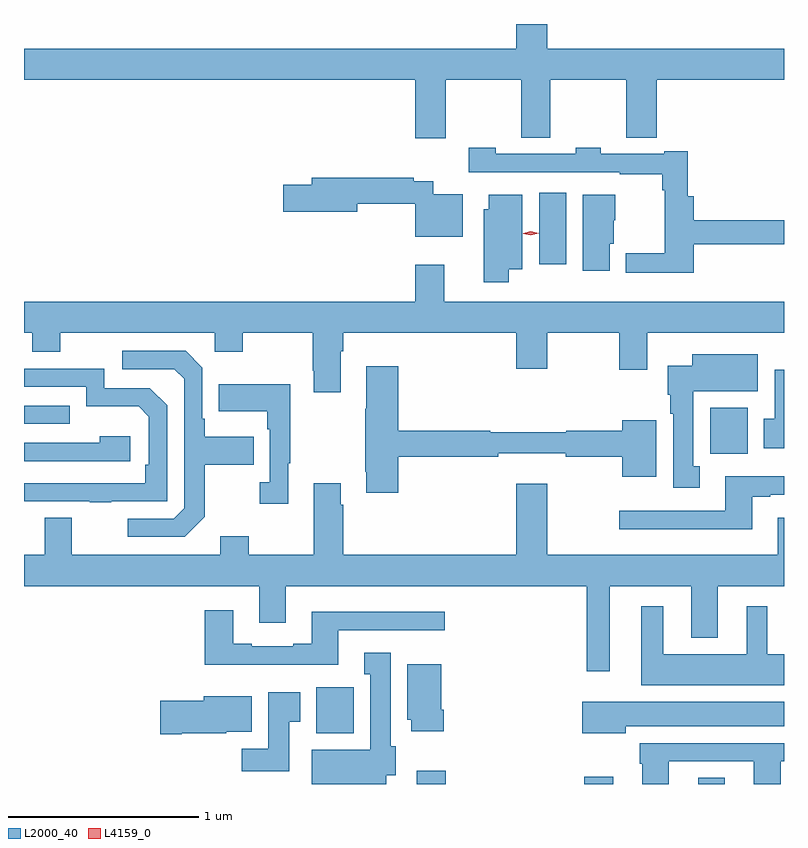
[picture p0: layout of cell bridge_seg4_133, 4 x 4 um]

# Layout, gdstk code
import gdstk
lib = gdstk.Library(unit=1e-6, precision=1e-09)
def R(c, l, rs):  # rectangles x0, y0, x1, y1
    for r in rs: c.add(gdstk.rectangle(r[:2], r[2:], *l))
def P(c, l, *ps):  # polygons
    for p in ps: c.add(gdstk.Polygon(p, *l))
L2000_40 = (2000, 40)
L4159_0 = (4159, 0)

bridge_seg4_133 = lib.new_cell('bridge_seg4_133')
R(bridge_seg4_133, L2000_40, [(140.507,806.434,140.66,806.503), (141.389,806.434,141.541,806.473), (141.989,806.434,142.129,806.468), (139.979,806.702,140.176,806.944), (142.052,808.172,142.249,808.414), (138.441,808.329,138.683,808.425), (141.152,809.169,141.295,809.545)])
P(bridge_seg4_133, L2000_40, [(140.661,810.14),(141.058,810.14),(141.058,809.836),(141.212,809.836),(141.212,810.14),(141.61,810.14),(141.61,809.836),(141.77,809.836),(141.77,810.14),(142.441,810.14),(142.441,810.304),(141.196,810.304),(141.196,810.434),(141.032,810.434),(141.032,810.304),(138.441,810.304),(138.441,810.14),(140.501,810.14),(140.501,809.832),(140.661,809.832)],
  [(141.965,809.274),(142.441,809.274),(142.441,809.402),(141.965,809.402),(141.965,809.527),(141.935,809.527),(141.935,809.764),(141.812,809.764),(141.812,809.751),(141.477,809.751),(141.477,809.784),(141.345,809.784),(141.345,809.751),(140.925,809.751),(140.925,809.784),(140.781,809.784),(140.781,809.655),(141.577,809.655),(141.577,809.643),(141.799,809.643),(141.799,809.558),(141.814,809.558),(141.814,809.228),(141.609,809.228),(141.609,809.126),(141.965,809.126)],
  [(140.749,809.539),(140.595,809.539),(140.595,809.607),(140.492,809.607),(140.492,809.624),(139.955,809.624),(139.955,809.588),(139.806,809.588),(139.806,809.446),(140.194,809.446),(140.194,809.488),(140.499,809.488),(140.499,809.315),(140.749,809.315)],
  [(141.523,809.277),(141.544,809.277),(141.544,809.4),(141.553,809.4),(141.553,809.536),(141.383,809.536),(141.383,809.136),(141.523,809.136)],
  [(140.991,809.144),(141.064,809.144),(141.064,809.536),(140.888,809.536),(140.888,809.46),(140.861,809.46),(140.861,809.076),(140.991,809.076)],
  [(141.032,808.62),(141.196,808.62),(141.196,808.808),(141.574,808.808),(141.574,808.614),(141.721,808.614),(141.721,808.808),(142.441,808.808),(142.441,808.972),(140.653,808.972),(140.653,809.167),(140.501,809.167),(140.501,808.972),(138.441,808.972),(138.441,808.808),(138.485,808.808),(138.485,808.709),(138.633,808.709),(138.633,808.808),(139.446,808.808),(139.446,808.709),(139.593,808.709),(139.593,808.808),(139.96,808.808),(139.96,808.609),(139.967,808.609),(139.967,808.497),(140.107,808.497),(140.107,808.712),(140.12,808.712),(140.12,808.808),(141.032,808.808)],
  [(139.393,807.841),(139.393,808.114),(139.649,808.114),(139.649,808.261),(139.393,808.261),(139.393,808.357),(139.38,808.357),(139.38,808.626),(139.293,808.713),(138.957,808.713),(138.957,808.617),(139.233,808.617),(139.284,808.566),(139.284,807.885),(139.23,807.831),(138.987,807.831),(138.987,807.735),(139.287,807.735)],
  [(141.997,808.106),(141.964,808.106),(141.964,808.502),(142.303,808.502),(142.303,808.696),(141.959,808.696),(141.959,808.636),(141.83,808.636),(141.83,808.482),(141.842,808.482),(141.842,808.382),(141.857,808.382),(141.857,807.993),(141.997,807.993)],
  [(140.411,808.156),(140.936,808.156),(140.936,808.175),(141.292,808.175),(141.292,808.156),(141.59,808.156),(141.59,808.052),(141.769,808.052),(141.769,808.348),(141.59,808.348),(141.59,808.292),(141.294,808.292),(141.294,808.285),(140.894,808.285),(140.894,808.292),(140.411,808.292),(140.411,808.633),(140.243,808.633),(140.243,808.409),(140.236,808.409),(140.236,808.078),(140.243,808.078),(140.243,807.966),(140.411,807.966)],
  [(138.899,807.921),(139.194,807.921),(139.194,808.428),(139.104,808.518),(138.864,808.518),(138.864,808.62),(138.441,808.62),(138.441,808.524),(138.768,808.524),(138.768,808.421),(139.045,808.421),(139.098,808.368),(139.098,808.114),(139.078,808.114),(139.078,808.017),(138.441,808.017),(138.441,807.921),(138.787,807.921),(138.787,807.916),(138.899,807.916)],
  [(142.441,808.614),(142.391,808.614),(142.391,808.356),(142.334,808.356),(142.334,808.2),(142.441,808.2)],
  [(139.831,808.121),(139.843,808.121),(139.843,808.537),(139.465,808.537),(139.465,808.397),(139.722,808.397),(139.722,808.301),(139.734,808.301),(139.734,808.022),(139.683,808.022),(139.683,807.909),(139.831,807.909)],
  [(139,808.264),(138.839,808.264),(138.839,808.23),(138.441,808.23),(138.441,808.134),(139,808.134)],
  [(142.273,807.945),(142.369,807.945),(142.369,807.957),(142.441,807.957),(142.441,808.054),(142.133,808.054),(142.133,807.873),(141.573,807.873),(141.573,807.776),(142.273,807.776)],
  [(141.523,807.476),(141.953,807.476),(141.953,807.203),(142.093,807.203),(142.093,807.476),(142.441,807.476),(142.441,807.835),(142.409,807.835),(142.409,807.64),(141.196,807.64),(141.196,808.015),(141.032,808.015),(141.032,807.64),(140.12,807.64),(140.12,807.905),(140.107,807.905),(140.107,808.018),(139.967,808.018),(139.967,807.64),(139.623,807.64),(139.623,807.739),(139.475,807.739),(139.475,807.64),(138.691,807.64),(138.691,807.835),(138.551,807.835),(138.551,807.64),(138.441,807.64),(138.441,807.476),(139.679,807.476),(139.679,807.282),(139.819,807.282),(139.819,807.476),(141.402,807.476),(141.402,807.027),(141.523,807.027)],
  [(142.441,807.118),(142.354,807.118),(142.354,807.37),(142.244,807.37),(142.244,807.118),(141.805,807.118),(141.805,807.37),(141.689,807.37),(141.689,806.954),(142.441,806.954)],
  [(140.095,807.243),(140.656,807.243),(140.656,807.34),(139.955,807.34),(139.955,807.172),(139.859,807.172),(139.859,807.159),(139.639,807.159),(139.639,807.172),(139.543,807.172),(139.543,807.349),(139.391,807.349),(139.391,807.062),(140.095,807.062)],
  [(140.347,806.48),(140.398,806.48),(140.398,806.634),(140.371,806.634),(140.371,807.124),(140.231,807.124),(140.231,807.011),(140.264,807.011),(140.264,806.614),(139.955,806.614),(139.955,806.434),(140.347,806.434)],
  [(140.651,806.824),(140.638,806.824),(140.638,807.064),(140.459,807.064),(140.459,806.772),(140.48,806.772),(140.48,806.712),(140.651,806.712)],
  [(139.837,806.761),(139.894,806.761),(139.894,806.917),(139.727,806.917),(139.727,806.62),(139.588,806.62),(139.588,806.502),(139.837,806.502)],
  [(139.27,806.702),(139.506,806.702),(139.506,806.708),(139.639,806.708),(139.639,806.896),(139.388,806.896),(139.388,806.873),(139.158,806.873),(139.158,806.695),(139.27,806.695)],
  [(141.607,806.738),(142.441,806.738),(142.441,806.866),(141.378,806.866),(141.378,806.702),(141.607,806.702)],
  [(141.835,806.553),(142.283,806.553),(142.283,806.434),(142.423,806.434),(142.423,806.553),(142.441,806.553),(142.441,806.649),(141.683,806.649),(141.683,806.541),(141.695,806.541),(141.695,806.434),(141.835,806.434)])
P(bridge_seg4_133, L4159_0, [(141.109,809.322),(141.069,809.331),(141.068,809.332),(141.069,809.332),(141.109,809.342),(141.149,809.333),(141.149,809.332),(141.149,809.332)])

lib.write_gds('bridge_seg4_133.gds')
